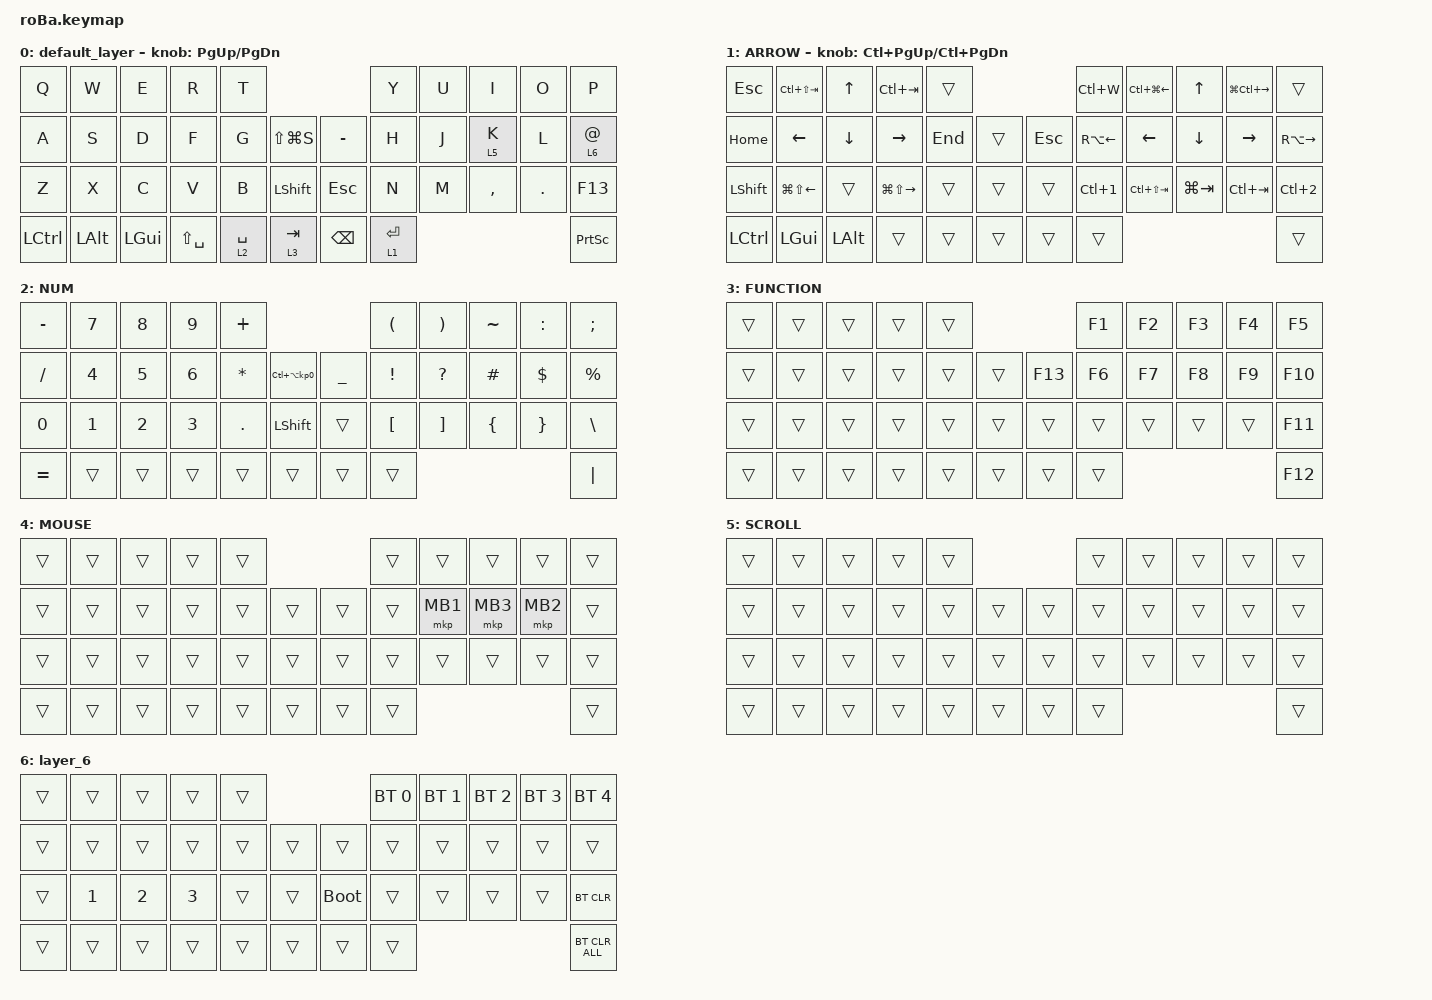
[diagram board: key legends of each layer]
#include <behaviors.dtsi>
#include <dt-bindings/zmk/bt.h>
#include <dt-bindings/zmk/keys.h>
#include <dt-bindings/zmk/pointing.h>

&mt {
    flavor = "balanced";
    quick-tap-ms = <0>;
};

&trackball {
    automouse-layer = <4>;
    scroll-layers = <5>;

    // arrows {
    //     layers = <3>;
    //     bindings =
    //         <&kp RIGHT_ARROW>,
    //         <&kp LEFT_ARROW>,
    //         <&kp UP_ARROW>,
    //         <&kp DOWN_ARROW>;
    //     tick = <10>;
    //     wait-ms = <5>;
    //     tap-ms = <5>;
    // };
};

/ {
    combos {
        compatible = "zmk,combos";

        tab {
            bindings = <&kp TAB>;
            key-positions = <11 12>;
        };

        shift_tab {
            bindings = <&kp LS(TAB)>;
            key-positions = <12 13>;
        };

        muhennkann {
            bindings = <&to_layer_0 INT_MUHENKAN>;
            key-positions = <11 10>;
        };

        double_quotation {
            bindings = <&kp DOUBLE_QUOTES>;
            key-positions = <20 21>;
        };

        eq {
            bindings = <&kp EQUAL>;
            key-positions = <24 25>;
        };
    };

    macros {
        to_layer_0: to_layer_0 {
            compatible = "zmk,behavior-macro-one-param";
            #binding-cells = <1>;
            bindings = <&to 0 &macro_param_1to1 &kp MACRO_PLACEHOLDER>;
            label = "TO_LAYER_0";
        };
    };

    behaviors {
        lt_to_layer_0: lt_to_layer_0 {
            compatible = "zmk,behavior-hold-tap";
            label = "LAYER_TAP_TO_0";
            bindings = <&mo>, <&to_layer_0>;

            #binding-cells = <2>;
            tapping-term-ms = <200>;
        };
    };

    keymap {
        compatible = "zmk,keymap";

        default_layer {
            bindings = <
&kp Q      &kp W         &kp E         &kp R          &kp T                                           &kp Y        &kp U  &kp I      &kp O    &kp P
&kp A      &kp S         &kp D         &kp F          &kp G        &kp LS(LG(S))       &kp MINUS      &kp H        &kp J  &lt 5 K    &kp L    &lt 6 AT
&kp Z      &kp X         &kp C         &kp V          &kp B        &kp LEFT_SHIFT      &kp ESC        &kp N        &kp M  &kp COMMA  &kp DOT  &kp F13
&kp LCTRL  &kp LEFT_ALT  &kp LEFT_GUI  &kp LS(SPACE)  &lt 2 SPACE  &lt 3 TAB           &kp BACKSPACE  &lt 1 ENTER                             &kp PRINTSCREEN
            >;

            sensor-bindings = <&inc_dec_kp PG_UP PAGE_DOWN>;
        };

        ARROW {
            bindings = <
&kp ESCAPE        &kp LC(LS(TAB))         &kp UP_ARROW    &kp LC(TAB)              &trans                        &kp LC(W)           &kp LC(LG(LEFT))  &kp UP       &kp LG(LC(RIGHT))  &trans
&kp HOME          &kp LEFT_ARROW          &kp DOWN_ARROW  &kp RIGHT_ARROW          &kp END  &trans      &kp ESC  &kp RA(LEFT_ARROW)  &kp LEFT          &kp DOWN     &kp RIGHT          &kp RA(RIGHT)
&kp LEFT_SHIFT    &kp LG(LS(LEFT_ARROW))  &trans          &kp LG(LS(RIGHT_ARROW))  &trans   &trans      &trans   &kp LC(NUMBER_1)    &kp LC(LS(TAB))   &kp LG(TAB)  &kp LC(TAB)        &kp LC(NUMBER_2)
&kp LEFT_CONTROL  &kp LEFT_GUI            &kp LEFT_ALT    &trans                   &trans   &trans      &trans   &trans                                                                &trans
            >;

            sensor-bindings = <&inc_dec_kp LC(PAGE_UP) LC(PAGE_DOWN)>;
        };

        NUM {
            bindings = <
&kp MINUS     &kp NUMBER_7  &kp NUMBER_8  &kp NUMBER_9  &kp PLUS                                                   &kp LEFT_PARENTHESIS  &kp RIGHT_PARENTHESIS  &kp TILDE       &kp COLON        &kp SEMICOLON
&kp SLASH     &kp NUMBER_4  &kp NUMBER_5  &kp NUMBER_6  &kp ASTERISK  &kp LC(LA(KP_NUMBER_0))      &kp UNDERSCORE  &kp EXCLAMATION       &kp QUESTION           &kp HASH        &kp DOLLAR       &kp PERCENT
&kp NUMBER_0  &kp NUMBER_1  &kp NUMBER_2  &kp NUMBER_3  &kp PERIOD    &kp LEFT_SHIFT               &trans          &kp LEFT_BRACKET      &kp RIGHT_BRACKET      &kp LEFT_BRACE  &kp RIGHT_BRACE  &kp BACKSLASH
&kp EQUAL     &trans        &trans        &trans        &trans        &trans                       &trans          &trans                                                                        &kp PIPE
            >;
        };

        FUNCTION {
            bindings = <
&trans  &trans  &trans  &trans  &trans                       &kp F1  &kp F2  &kp F3  &kp F4  &kp F5
&trans  &trans  &trans  &trans  &trans  &trans      &kp F13  &kp F6  &kp F7  &kp F8  &kp F9  &kp F10
&trans  &trans  &trans  &trans  &trans  &trans      &trans   &trans  &trans  &trans  &trans  &kp F11
&trans  &trans  &trans  &trans  &trans  &trans      &trans   &trans                          &kp F12
            >;
        };

        MOUSE {
            bindings = <
&trans  &trans  &trans  &trans  &trans                      &trans  &trans    &trans    &trans    &trans
&trans  &trans  &trans  &trans  &trans  &trans      &trans  &trans  &mkp MB1  &mkp MB3  &mkp MB2  &trans
&trans  &trans  &trans  &trans  &trans  &trans      &trans  &trans  &trans    &trans    &trans    &trans
&trans  &trans  &trans  &trans  &trans  &trans      &trans  &trans                                &trans
            >;
        };

        SCROLL {
            bindings = <
&trans  &trans  &trans  &trans  &trans                      &trans  &trans  &trans  &trans  &trans
&trans  &trans  &trans  &trans  &trans  &trans      &trans  &trans  &trans  &trans  &trans  &trans
&trans  &trans  &trans  &trans  &trans  &trans      &trans  &trans  &trans  &trans  &trans  &trans
&trans  &trans  &trans  &trans  &trans  &trans      &trans  &trans                          &trans
            >;
        };

        layer_6 {
            bindings = <
&trans  &trans        &trans        &trans        &trans                           &bt BT_SEL 0  &bt BT_SEL 1  &bt BT_SEL 2  &bt BT_SEL 3  &bt BT_SEL 4
&trans  &trans        &trans        &trans        &trans  &trans      &trans       &trans        &trans        &trans        &trans        &trans
&trans  &kp NUMBER_1  &kp NUMBER_2  &kp NUMBER_3  &trans  &trans      &bootloader  &trans        &trans        &trans        &trans        &bt BT_CLR
&trans  &trans        &trans        &trans        &trans  &trans      &trans       &trans                                                  &bt BT_CLR_ALL
            >;
        };
    };
};
